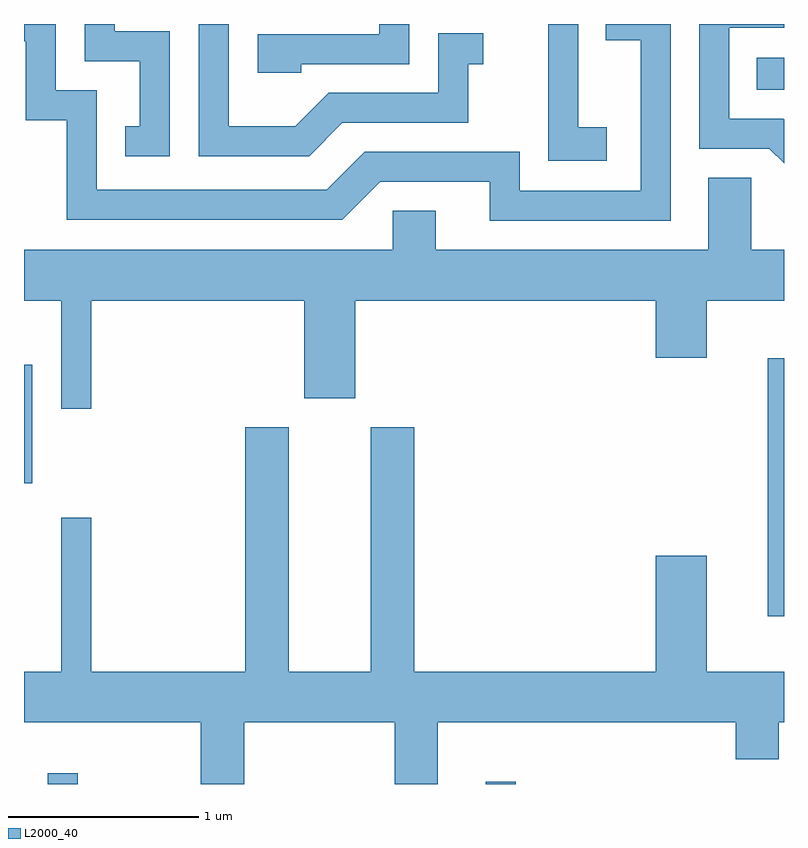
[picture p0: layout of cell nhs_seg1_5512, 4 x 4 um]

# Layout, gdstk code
import gdstk
lib = gdstk.Library(unit=1e-6, precision=1e-09)
def R(c, l, rs):  # rectangles x0, y0, x1, y1
    for r in rs: c.add(gdstk.rectangle(r[:2], r[2:], *l))
def P(c, l, *ps):  # polygons
    for p in ps: c.add(gdstk.Polygon(p, *l))
L2000_40 = (2000, 40)

nhs_seg1_5512 = lib.new_cell('nhs_seg1_5512')
R(nhs_seg1_5512, L2000_40, [(351.736,883.712,351.894,883.768), (354.041,883.712,354.199,883.723), (355.526,884.596,355.611,885.954), (351.611,885.296,351.654,885.919), (355.468,887.366,355.611,887.534)])
P(nhs_seg1_5512, L2000_40, [(355.611,887.21),(355.607,887.214),(355.324,887.214),(355.324,887.691),(355.611,887.691),(355.611,887.712),(355.166,887.712),(355.166,887.056),(355.534,887.056),(355.611,886.979)],
  [(355.014,887.712),(354.673,887.712),(354.673,887.626),(354.856,887.626),(354.856,886.834),(354.219,886.834),(354.219,887.039),(353.404,887.039),(353.204,886.839),(351.994,886.839),(351.994,887.364),(351.779,887.364),(351.779,887.712),(351.611,887.712),(351.611,887.621),(351.621,887.621),(351.621,887.206),(351.836,887.206),(351.836,886.681),(353.287,886.681),(353.487,886.881),(354.061,886.881),(354.061,886.676),(355.014,886.676)],
  [(353.287,887.191),(353.949,887.191),(353.949,887.501),(354.028,887.501),(354.028,887.664),(353.791,887.664),(353.791,887.349),(353.214,887.349),(353.039,887.174),(352.689,887.174),(352.689,887.712),(352.531,887.712),(352.531,887.016),(353.112,887.016)],
  [(352.379,887.674),(352.089,887.674),(352.089,887.712),(351.931,887.712),(351.931,887.516),(352.221,887.516),(352.221,887.174),(352.143,887.174),(352.143,887.016),(352.379,887.016)],
  [(353.069,887.501),(353.639,887.501),(353.639,887.712),(353.481,887.712),(353.481,887.659),(352.841,887.659),(352.841,887.456),(353.069,887.456)],
  [(354.679,887.169),(354.529,887.169),(354.529,887.712),(354.371,887.712),(354.371,886.991),(354.679,886.991)],
  [(351.964,886.256),(353.086,886.256),(353.086,885.741),(353.354,885.741),(353.354,886.256),(354.936,886.256),(354.936,885.956),(355.204,885.956),(355.204,886.256),(355.611,886.256),(355.611,886.524),(355.439,886.524),(355.439,886.904),(355.211,886.904),(355.211,886.524),(353.779,886.524),(353.779,886.729),(353.551,886.729),(353.551,886.524),(351.611,886.524),(351.611,886.256),(351.806,886.256),(351.806,885.688),(351.964,885.688)],
  [(352.769,884.036),(353.561,884.036),(353.561,883.712),(353.789,883.712),(353.789,884.036),(355.356,884.036),(355.356,883.841),(355.584,883.841),(355.584,884.036),(355.611,884.036),(355.611,884.304),(355.204,884.304),(355.204,884.914),(354.936,884.914),(354.936,884.304),(353.664,884.304),(353.664,885.589),(353.436,885.589),(353.436,884.304),(353.004,884.304),(353.004,885.589),(352.776,885.589),(352.776,884.304),(351.964,884.304),(351.964,885.113),(351.806,885.113),(351.806,884.304),(351.611,884.304),(351.611,884.036),(352.541,884.036),(352.541,883.712),(352.769,883.712)])

lib.write_gds('nhs_seg1_5512.gds')
